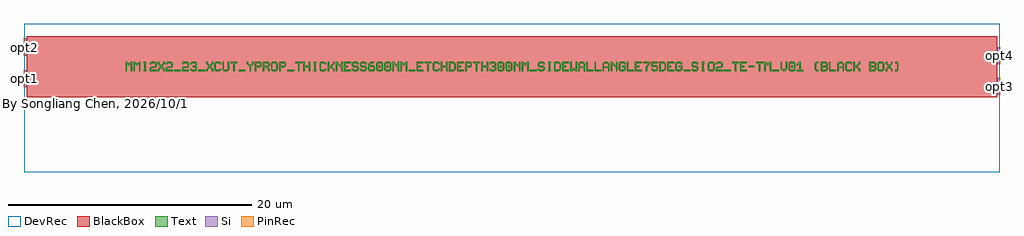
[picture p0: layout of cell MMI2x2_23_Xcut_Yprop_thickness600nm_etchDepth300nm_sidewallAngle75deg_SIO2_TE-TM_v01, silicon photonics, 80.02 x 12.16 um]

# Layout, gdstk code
import gdstk
lib = gdstk.Library(unit=1e-6, precision=1e-10)
def R(c, l, rs):  # rectangles x0, y0, x1, y1
    for r in rs: c.add(gdstk.rectangle(r[:2], r[2:], *l))
def A(c, l, x, y, w, h, nx, ny, dx, dy):  # array of equal rectangles
    R(c, l, [(x+i*dx, y+j*dy, x+i*dx+w, y+j*dy+h) for i in range(nx) for j in range(ny)])
def P(c, l, *ps):  # polygons
    for p in ps: c.add(gdstk.Polygon(p, *l))
Si = (1, 0)
PinRec = (1, 10)
Text = (10, 0)
DevRec = (68, 0)
BlackBox = (998, 0)

text = lib.new_cell('TEXT')
A(text, Text, 13.26, 0, 0.553, 0.111, 3, 1, 9.945, 0)
R(text, Text, [(3.978,0,4.531,0.111), (5.967,0,6.52,0.111), (9.282,0,9.835,0.111), (45.747,0,46.3,0.111), (49.062,0,49.615,0.111), (53.04,0,53.593,0.111), (20.774,0.276,20.885,0.498), (21.437,0.276,21.548,0.498), (30.719,0.276,30.83,0.498), (31.382,0.276,31.493,0.498), (54.587,0.276,54.698,0.498), (51.106,0.332,51.549,0.442)])
P(text, Text, [(0,0),(0,0.774),(0.111,0.774),(0.221,0.663),(0.332,0.663),(0.442,0.774),(0.553,0.774),(0.553,0),(0.442,0),(0.442,0.553),(0.387,0.553),(0.276,0.442),(0.166,0.553),(0.111,0.553),(0.111,0)],
  [(0.663,0),(0.663,0.774),(0.774,0.774),(0.884,0.663),(0.995,0.663),(1.105,0.774),(1.216,0.774),(1.216,0),(1.105,0),(1.105,0.553),(1.05,0.553),(0.939,0.442),(0.829,0.553),(0.774,0.553),(0.774,0)],
  [(1.492,0),(1.492,0.111),(1.547,0.111),(1.547,0.663),(1.492,0.663),(1.492,0.774),(1.713,0.774),(1.713,0.663),(1.658,0.663),(1.658,0.111),(1.713,0.111),(1.713,0)],
  [(1.989,0),(1.989,0.276),(2.1,0.387),(2.376,0.387),(2.431,0.442),(2.431,0.608),(2.376,0.663),(2.155,0.663),(2.1,0.608),(2.1,0.553),(1.989,0.553),(1.989,0.663),(2.1,0.774),(2.431,0.774),(2.542,0.663),(2.542,0.387),(2.431,0.276),(2.155,0.276),(2.1,0.221),(2.1,0.111),(2.542,0.111),(2.542,0)],
  [(2.652,0),(2.652,0.166),(2.818,0.332),(2.818,0.442),(2.652,0.608),(2.652,0.774),(2.763,0.774),(2.763,0.663),(2.928,0.498),(3.094,0.663),(3.094,0.774),(3.205,0.774),(3.205,0.608),(3.039,0.442),(3.039,0.332),(3.205,0.166),(3.205,0),(3.094,0),(3.094,0.111),(2.928,0.276),(2.763,0.111),(2.763,0)],
  [(3.315,0),(3.315,0.276),(3.426,0.387),(3.702,0.387),(3.757,0.442),(3.757,0.608),(3.702,0.663),(3.481,0.663),(3.426,0.608),(3.426,0.553),(3.315,0.553),(3.315,0.663),(3.426,0.774),(3.757,0.774),(3.868,0.663),(3.868,0.387),(3.757,0.276),(3.481,0.276),(3.426,0.221),(3.426,0.111),(3.868,0.111),(3.868,0)],
  [(4.641,0),(4.641,0.276),(4.752,0.387),(5.028,0.387),(5.083,0.442),(5.083,0.608),(5.028,0.663),(4.807,0.663),(4.752,0.608),(4.752,0.553),(4.641,0.553),(4.641,0.663),(4.752,0.774),(5.083,0.774),(5.194,0.663),(5.194,0.387),(5.083,0.276),(4.807,0.276),(4.752,0.221),(4.752,0.111),(5.194,0.111),(5.194,0)],
  [(5.415,0),(5.304,0.111),(5.304,0.221),(5.415,0.221),(5.415,0.166),(5.47,0.111),(5.691,0.111),(5.746,0.166),(5.746,0.276),(5.691,0.332),(5.525,0.332),(5.525,0.442),(5.691,0.442),(5.746,0.498),(5.746,0.608),(5.691,0.663),(5.47,0.663),(5.415,0.608),(5.415,0.553),(5.304,0.553),(5.304,0.663),(5.415,0.774),(5.746,0.774),(5.857,0.663),(5.857,0.442),(5.802,0.387),(5.857,0.332),(5.857,0.111),(5.746,0)],
  [(6.63,0),(6.63,0.166),(6.796,0.332),(6.796,0.442),(6.63,0.608),(6.63,0.774),(6.741,0.774),(6.741,0.663),(6.906,0.498),(7.072,0.663),(7.072,0.774),(7.183,0.774),(7.183,0.608),(7.017,0.442),(7.017,0.332),(7.183,0.166),(7.183,0),(7.072,0),(7.072,0.111),(6.906,0.276),(6.741,0.111),(6.741,0)],
  [(7.404,0),(7.293,0.111),(7.293,0.663),(7.404,0.774),(7.735,0.774),(7.846,0.663),(7.846,0.553),(7.735,0.553),(7.735,0.608),(7.68,0.663),(7.459,0.663),(7.404,0.608),(7.404,0.166),(7.459,0.111),(7.68,0.111),(7.735,0.166),(7.735,0.221),(7.846,0.221),(7.846,0.111),(7.735,0)],
  [(8.067,0),(7.956,0.111),(7.956,0.774),(8.067,0.774),(8.067,0.166),(8.122,0.111),(8.343,0.111),(8.398,0.166),(8.398,0.774),(8.509,0.774),(8.509,0.111),(8.398,0)],
  [(8.84,0),(8.84,0.663),(8.619,0.663),(8.619,0.774),(9.172,0.774),(9.172,0.663),(8.951,0.663),(8.951,0)],
  [(10.166,0),(10.166,0.387),(9.945,0.608),(9.945,0.774),(10.056,0.774),(10.056,0.663),(10.221,0.498),(10.387,0.663),(10.387,0.774),(10.498,0.774),(10.498,0.608),(10.277,0.387),(10.277,0)],
  [(10.608,0),(10.608,0.774),(11.05,0.774),(11.161,0.663),(11.161,0.442),(11.05,0.332),(10.719,0.332),(10.719,0.442),(10.995,0.442),(11.05,0.498),(11.05,0.608),(10.995,0.663),(10.719,0.663),(10.719,0)],
  [(11.271,0),(11.271,0.774),(11.713,0.774),(11.824,0.663),(11.382,0.663),(11.382,0.442),(11.658,0.442),(11.713,0.498),(11.713,0.608),(11.658,0.663),(11.824,0.663),(11.824,0.442),(11.713,0.332),(11.713,0.276),(11.824,0.166),(11.824,0),(11.713,0),(11.713,0.111),(11.492,0.332),(11.382,0.332),(11.382,0)],
  [(12.045,0),(11.934,0.111),(11.934,0.663),(12.045,0.774),(12.376,0.774),(12.487,0.663),(12.487,0.387),(12.376,0.387),(12.376,0.608),(12.321,0.663),(12.1,0.663),(12.045,0.608),(12.045,0.166),(12.1,0.111),(12.321,0.111),(12.376,0.166),(12.376,0.387),(12.487,0.387),(12.487,0.111),(12.376,0)],
  [(12.597,0),(12.597,0.774),(13.039,0.774),(13.15,0.663),(13.15,0.442),(13.039,0.332),(12.708,0.332),(12.708,0.442),(12.984,0.442),(13.039,0.498),(13.039,0.608),(12.984,0.663),(12.708,0.663),(12.708,0)],
  [(14.144,0),(14.144,0.663),(13.923,0.663),(13.923,0.774),(14.476,0.774),(14.476,0.663),(14.255,0.663),(14.255,0)],
  [(14.586,0),(14.586,0.774),(14.697,0.774),(14.697,0.442),(15.028,0.442),(15.028,0.774),(15.139,0.774),(15.139,0),(15.028,0),(15.028,0.332),(14.697,0.332),(14.697,0)],
  [(15.415,0),(15.415,0.111),(15.47,0.111),(15.47,0.663),(15.415,0.663),(15.415,0.774),(15.636,0.774),(15.636,0.663),(15.581,0.663),(15.581,0.111),(15.636,0.111),(15.636,0)],
  [(16.023,0),(15.912,0.111),(15.912,0.663),(16.023,0.774),(16.354,0.774),(16.465,0.663),(16.465,0.553),(16.354,0.553),(16.354,0.608),(16.299,0.663),(16.078,0.663),(16.023,0.608),(16.023,0.166),(16.078,0.111),(16.299,0.111),(16.354,0.166),(16.354,0.221),(16.465,0.221),(16.465,0.111),(16.354,0)],
  [(16.575,0),(16.575,0.774),(16.686,0.774),(16.686,0.442),(16.796,0.442),(17.017,0.663),(17.017,0.774),(17.128,0.774),(17.128,0.608),(16.907,0.387),(17.128,0.166),(17.128,0),(17.017,0),(17.017,0.111),(16.796,0.332),(16.686,0.332),(16.686,0)],
  [(17.238,0),(17.238,0.774),(17.349,0.774),(17.625,0.498),(17.68,0.498),(17.68,0.774),(17.791,0.774),(17.791,0),(17.68,0),(17.68,0.276),(17.404,0.553),(17.349,0.553),(17.349,0)],
  [(17.901,0),(17.901,0.774),(18.454,0.774),(18.454,0.663),(18.012,0.663),(18.012,0.442),(18.233,0.442),(18.233,0.332),(18.012,0.332),(18.012,0.111),(18.454,0.111),(18.454,0)],
  [(18.675,0),(18.564,0.111),(18.564,0.221),(18.675,0.221),(18.675,0.166),(18.73,0.111),(18.951,0.111),(19.006,0.166),(19.006,0.276),(18.951,0.332),(18.675,0.332),(18.564,0.442),(18.564,0.663),(18.675,0.774),(19.006,0.774),(19.117,0.663),(19.117,0.553),(19.006,0.553),(19.006,0.608),(18.951,0.663),(18.73,0.663),(18.675,0.608),(18.675,0.498),(18.73,0.442),(19.006,0.442),(19.117,0.332),(19.117,0.111),(19.006,0)],
  [(19.338,0),(19.227,0.111),(19.227,0.221),(19.338,0.221),(19.338,0.166),(19.393,0.111),(19.614,0.111),(19.669,0.166),(19.669,0.276),(19.614,0.332),(19.338,0.332),(19.227,0.442),(19.227,0.663),(19.338,0.774),(19.669,0.774),(19.78,0.663),(19.78,0.553),(19.669,0.553),(19.669,0.608),(19.614,0.663),(19.393,0.663),(19.338,0.608),(19.338,0.498),(19.393,0.442),(19.669,0.442),(19.78,0.332),(19.78,0.111),(19.669,0)],
  [(20.001,0),(19.89,0.111),(19.89,0.553),(20.111,0.774),(20.332,0.774),(20.332,0.663),(20.166,0.663),(20.056,0.553),(20.056,0.498),(20.332,0.498),(20.443,0.387),(20.056,0.387),(20.001,0.332),(20.001,0.166),(20.056,0.111),(20.277,0.111),(20.332,0.166),(20.332,0.332),(20.277,0.387),(20.443,0.387),(20.443,0.111),(20.332,0)],
  [(20.664,0),(20.553,0.111),(20.553,0.663),(20.664,0.774),(20.995,0.774),(21.106,0.663),(20.719,0.663),(20.664,0.608),(20.664,0.166),(20.719,0.111),(20.94,0.111),(20.995,0.166),(20.995,0.608),(20.94,0.663),(21.106,0.663),(21.106,0.111),(20.995,0)],
  [(21.327,0),(21.216,0.111),(21.216,0.663),(21.327,0.774),(21.658,0.774),(21.769,0.663),(21.382,0.663),(21.327,0.608),(21.327,0.166),(21.382,0.111),(21.603,0.111),(21.658,0.166),(21.658,0.608),(21.603,0.663),(21.769,0.663),(21.769,0.111),(21.658,0)],
  [(21.879,0),(21.879,0.774),(21.99,0.774),(22.266,0.498),(22.321,0.498),(22.321,0.774),(22.432,0.774),(22.432,0),(22.321,0),(22.321,0.276),(22.045,0.553),(21.99,0.553),(21.99,0)],
  [(22.542,0),(22.542,0.774),(22.653,0.774),(22.763,0.663),(22.874,0.663),(22.984,0.774),(23.095,0.774),(23.095,0),(22.984,0),(22.984,0.553),(22.929,0.553),(22.818,0.442),(22.708,0.553),(22.653,0.553),(22.653,0)],
  [(23.868,0),(23.868,0.774),(24.421,0.774),(24.421,0.663),(23.979,0.663),(23.979,0.442),(24.2,0.442),(24.2,0.332),(23.979,0.332),(23.979,0.111),(24.421,0.111),(24.421,0)],
  [(24.752,0),(24.752,0.663),(24.531,0.663),(24.531,0.774),(25.084,0.774),(25.084,0.663),(24.863,0.663),(24.863,0)],
  [(25.305,0),(25.194,0.111),(25.194,0.663),(25.305,0.774),(25.636,0.774),(25.747,0.663),(25.747,0.553),(25.636,0.553),(25.636,0.608),(25.581,0.663),(25.36,0.663),(25.305,0.608),(25.305,0.166),(25.36,0.111),(25.581,0.111),(25.636,0.166),(25.636,0.221),(25.747,0.221),(25.747,0.111),(25.636,0)],
  [(25.857,0),(25.857,0.774),(25.968,0.774),(25.968,0.442),(26.299,0.442),(26.299,0.774),(26.41,0.774),(26.41,0),(26.299,0),(26.299,0.332),(25.968,0.332),(25.968,0)],
  [(26.52,0),(26.52,0.774),(26.907,0.774),(27.018,0.663),(26.631,0.663),(26.631,0.111),(26.852,0.111),(26.962,0.221),(26.962,0.553),(26.852,0.663),(27.018,0.663),(27.073,0.608),(27.073,0.166),(26.907,0)],
  [(27.183,0),(27.183,0.774),(27.736,0.774),(27.736,0.663),(27.294,0.663),(27.294,0.442),(27.515,0.442),(27.515,0.332),(27.294,0.332),(27.294,0.111),(27.736,0.111),(27.736,0)],
  [(27.846,0),(27.846,0.774),(28.288,0.774),(28.399,0.663),(28.399,0.442),(28.288,0.332),(27.957,0.332),(27.957,0.442),(28.233,0.442),(28.288,0.498),(28.288,0.608),(28.233,0.663),(27.957,0.663),(27.957,0)],
  [(28.73,0),(28.73,0.663),(28.509,0.663),(28.509,0.774),(29.062,0.774),(29.062,0.663),(28.841,0.663),(28.841,0)],
  [(29.172,0),(29.172,0.774),(29.283,0.774),(29.283,0.442),(29.614,0.442),(29.614,0.774),(29.725,0.774),(29.725,0),(29.614,0),(29.614,0.332),(29.283,0.332),(29.283,0)],
  [(29.946,0),(29.835,0.111),(29.835,0.221),(29.946,0.221),(29.946,0.166),(30.001,0.111),(30.222,0.111),(30.277,0.166),(30.277,0.276),(30.222,0.332),(30.056,0.332),(30.056,0.442),(30.222,0.442),(30.277,0.498),(30.277,0.608),(30.222,0.663),(30.001,0.663),(29.946,0.608),(29.946,0.553),(29.835,0.553),(29.835,0.663),(29.946,0.774),(30.277,0.774),(30.388,0.663),(30.388,0.442),(30.333,0.387),(30.388,0.332),(30.388,0.111),(30.277,0)],
  [(30.609,0),(30.498,0.111),(30.498,0.663),(30.609,0.774),(30.94,0.774),(31.051,0.663),(30.664,0.663),(30.609,0.608),(30.609,0.166),(30.664,0.111),(30.885,0.111),(30.94,0.166),(30.94,0.608),(30.885,0.663),(31.051,0.663),(31.051,0.111),(30.94,0)],
  [(31.272,0),(31.161,0.111),(31.161,0.663),(31.272,0.774),(31.603,0.774),(31.714,0.663),(31.327,0.663),(31.272,0.608),(31.272,0.166),(31.327,0.111),(31.548,0.111),(31.603,0.166),(31.603,0.608),(31.548,0.663),(31.714,0.663),(31.714,0.111),(31.603,0)],
  [(31.824,0),(31.824,0.774),(31.935,0.774),(32.211,0.498),(32.266,0.498),(32.266,0.774),(32.377,0.774),(32.377,0),(32.266,0),(32.266,0.276),(31.99,0.553),(31.935,0.553),(31.935,0)],
  [(32.487,0),(32.487,0.774),(32.598,0.774),(32.708,0.663),(32.819,0.663),(32.929,0.774),(33.04,0.774),(33.04,0),(32.929,0),(32.929,0.553),(32.874,0.553),(32.763,0.442),(32.653,0.553),(32.598,0.553),(32.598,0)],
  [(33.924,0),(33.813,0.111),(33.813,0.221),(33.924,0.221),(33.924,0.166),(33.979,0.111),(34.2,0.111),(34.255,0.166),(34.255,0.276),(34.2,0.332),(33.924,0.332),(33.813,0.442),(33.813,0.663),(33.924,0.774),(34.255,0.774),(34.366,0.663),(34.366,0.553),(34.255,0.553),(34.255,0.608),(34.2,0.663),(33.979,0.663),(33.924,0.608),(33.924,0.498),(33.979,0.442),(34.255,0.442),(34.366,0.332),(34.366,0.111),(34.255,0)],
  [(34.642,0),(34.642,0.111),(34.697,0.111),(34.697,0.663),(34.642,0.663),(34.642,0.774),(34.863,0.774),(34.863,0.663),(34.808,0.663),(34.808,0.111),(34.863,0.111),(34.863,0)],
  [(35.139,0),(35.139,0.774),(35.526,0.774),(35.637,0.663),(35.25,0.663),(35.25,0.111),(35.471,0.111),(35.581,0.221),(35.581,0.553),(35.471,0.663),(35.637,0.663),(35.692,0.608),(35.692,0.166),(35.526,0)],
  [(35.802,0),(35.802,0.774),(36.355,0.774),(36.355,0.663),(35.913,0.663),(35.913,0.442),(36.134,0.442),(36.134,0.332),(35.913,0.332),(35.913,0.111),(36.355,0.111),(36.355,0)],
  [(36.465,0),(36.465,0.774),(36.576,0.774),(36.576,0.166),(36.631,0.166),(36.741,0.276),(36.852,0.166),(36.907,0.166),(36.907,0.774),(37.018,0.774),(37.018,0),(36.852,0),(36.741,0.111),(36.631,0)],
  [(37.128,0),(37.128,0.608),(37.294,0.774),(37.515,0.774),(37.626,0.663),(37.349,0.663),(37.239,0.553),(37.239,0.387),(37.57,0.387),(37.57,0.553),(37.46,0.663),(37.626,0.663),(37.681,0.608),(37.681,0),(37.57,0),(37.57,0.276),(37.239,0.276),(37.239,0)],
  [(37.791,0),(37.791,0.774),(37.902,0.774),(37.902,0.111),(38.344,0.111),(38.344,0)],
  [(38.454,0),(38.454,0.774),(38.565,0.774),(38.565,0.111),(39.007,0.111),(39.007,0)],
  [(39.117,0),(39.117,0.608),(39.283,0.774),(39.504,0.774),(39.615,0.663),(39.338,0.663),(39.228,0.553),(39.228,0.387),(39.559,0.387),(39.559,0.553),(39.449,0.663),(39.615,0.663),(39.67,0.608),(39.67,0),(39.559,0),(39.559,0.276),(39.228,0.276),(39.228,0)],
  [(39.78,0),(39.78,0.774),(39.891,0.774),(40.167,0.498),(40.222,0.498),(40.222,0.774),(40.333,0.774),(40.333,0),(40.222,0),(40.222,0.276),(39.946,0.553),(39.891,0.553),(39.891,0)],
  [(40.554,0),(40.443,0.111),(40.443,0.663),(40.554,0.774),(40.885,0.774),(40.996,0.663),(40.996,0.553),(40.885,0.553),(40.885,0.608),(40.83,0.663),(40.609,0.663),(40.554,0.608),(40.554,0.166),(40.609,0.111),(40.83,0.111),(40.885,0.166),(40.885,0.332),(40.719,0.332),(40.719,0.442),(40.996,0.442),(40.996,0.111),(40.885,0)],
  [(41.106,0),(41.106,0.774),(41.217,0.774),(41.217,0.111),(41.659,0.111),(41.659,0)],
  [(41.769,0),(41.769,0.774),(42.322,0.774),(42.322,0.663),(41.88,0.663),(41.88,0.442),(42.101,0.442),(42.101,0.332),(41.88,0.332),(41.88,0.111),(42.322,0.111),(42.322,0)],
  [(42.653,0),(42.653,0.387),(42.874,0.608),(42.874,0.663),(42.432,0.663),(42.432,0.774),(42.985,0.774),(42.985,0.553),(42.764,0.332),(42.764,0)],
  [(43.206,0),(43.095,0.111),(43.095,0.221),(43.206,0.221),(43.206,0.166),(43.261,0.111),(43.482,0.111),(43.537,0.166),(43.537,0.332),(43.482,0.387),(43.095,0.387),(43.095,0.774),(43.648,0.774),(43.648,0.663),(43.206,0.663),(43.206,0.498),(43.537,0.498),(43.648,0.387),(43.648,0.111),(43.537,0)],
  [(43.758,0),(43.758,0.774),(44.145,0.774),(44.256,0.663),(43.869,0.663),(43.869,0.111),(44.09,0.111),(44.2,0.221),(44.2,0.553),(44.09,0.663),(44.256,0.663),(44.311,0.608),(44.311,0.166),(44.145,0)],
  [(44.421,0),(44.421,0.774),(44.974,0.774),(44.974,0.663),(44.532,0.663),(44.532,0.442),(44.753,0.442),(44.753,0.332),(44.532,0.332),(44.532,0.111),(44.974,0.111),(44.974,0)],
  [(45.195,0),(45.084,0.111),(45.084,0.663),(45.195,0.774),(45.526,0.774),(45.637,0.663),(45.637,0.553),(45.526,0.553),(45.526,0.608),(45.471,0.663),(45.25,0.663),(45.195,0.608),(45.195,0.166),(45.25,0.111),(45.471,0.111),(45.526,0.166),(45.526,0.332),(45.36,0.332),(45.36,0.442),(45.637,0.442),(45.637,0.111),(45.526,0)],
  [(46.521,0),(46.41,0.111),(46.41,0.221),(46.521,0.221),(46.521,0.166),(46.576,0.111),(46.797,0.111),(46.852,0.166),(46.852,0.276),(46.797,0.332),(46.521,0.332),(46.41,0.442),(46.41,0.663),(46.521,0.774),(46.852,0.774),(46.963,0.663),(46.963,0.553),(46.852,0.553),(46.852,0.608),(46.797,0.663),(46.576,0.663),(46.521,0.608),(46.521,0.498),(46.576,0.442),(46.852,0.442),(46.963,0.332),(46.963,0.111),(46.852,0)],
  [(47.239,0),(47.239,0.111),(47.294,0.111),(47.294,0.663),(47.239,0.663),(47.239,0.774),(47.46,0.774),(47.46,0.663),(47.405,0.663),(47.405,0.111),(47.46,0.111),(47.46,0)],
  [(47.847,0),(47.736,0.111),(47.736,0.663),(47.847,0.774),(48.178,0.774),(48.289,0.663),(48.289,0.387),(48.178,0.387),(48.178,0.608),(48.123,0.663),(47.902,0.663),(47.847,0.608),(47.847,0.166),(47.902,0.111),(48.123,0.111),(48.178,0.166),(48.178,0.387),(48.289,0.387),(48.289,0.111),(48.178,0)],
  [(48.399,0),(48.399,0.276),(48.51,0.387),(48.786,0.387),(48.841,0.442),(48.841,0.608),(48.786,0.663),(48.565,0.663),(48.51,0.608),(48.51,0.553),(48.399,0.553),(48.399,0.663),(48.51,0.774),(48.841,0.774),(48.952,0.663),(48.952,0.387),(48.841,0.276),(48.565,0.276),(48.51,0.221),(48.51,0.111),(48.952,0.111),(48.952,0)],
  [(49.946,0),(49.946,0.663),(49.725,0.663),(49.725,0.774),(50.278,0.774),(50.278,0.663),(50.057,0.663),(50.057,0)],
  [(50.388,0),(50.388,0.774),(50.941,0.774),(50.941,0.663),(50.499,0.663),(50.499,0.442),(50.72,0.442),(50.72,0.332),(50.499,0.332),(50.499,0.111),(50.941,0.111),(50.941,0)],
  [(51.935,0),(51.935,0.663),(51.714,0.663),(51.714,0.774),(52.267,0.774),(52.267,0.663),(52.046,0.663),(52.046,0)],
  [(52.377,0),(52.377,0.774),(52.488,0.774),(52.598,0.663),(52.709,0.663),(52.819,0.774),(52.93,0.774),(52.93,0),(52.819,0),(52.819,0.553),(52.764,0.553),(52.653,0.442),(52.543,0.553),(52.488,0.553),(52.488,0)],
  [(53.924,0),(53.703,0.221),(53.703,0.774),(53.814,0.774),(53.814,0.276),(53.979,0.111),(54.145,0.276),(54.145,0.774),(54.256,0.774),(54.256,0.221),(54.035,0)],
  [(54.477,0),(54.366,0.111),(54.366,0.663),(54.477,0.774),(54.808,0.774),(54.919,0.663),(54.532,0.663),(54.477,0.608),(54.477,0.166),(54.532,0.111),(54.753,0.111),(54.808,0.166),(54.808,0.608),(54.753,0.663),(54.919,0.663),(54.919,0.111),(54.808,0)],
  [(55.029,0),(55.029,0.111),(55.25,0.111),(55.25,0.553),(55.195,0.553),(55.084,0.442),(55.029,0.442),(55.029,0.553),(55.25,0.774),(55.361,0.774),(55.361,0.111),(55.582,0.111),(55.582,0)],
  [(56.631,0),(56.521,0.111),(56.521,0.663),(56.631,0.774),(56.797,0.774),(56.797,0.663),(56.687,0.663),(56.631,0.608),(56.631,0.166),(56.687,0.111),(56.797,0.111),(56.797,0)],
  [(57.018,0),(57.018,0.774),(57.46,0.774),(57.571,0.663),(57.129,0.663),(57.129,0.442),(57.405,0.442),(57.46,0.498),(57.46,0.608),(57.405,0.663),(57.571,0.663),(57.571,0.442),(57.516,0.387),(57.571,0.332),(57.129,0.332),(57.129,0.111),(57.405,0.111),(57.46,0.166),(57.46,0.276),(57.405,0.332),(57.571,0.332),(57.571,0.111),(57.46,0)],
  [(57.681,0),(57.681,0.774),(57.792,0.774),(57.792,0.111),(58.234,0.111),(58.234,0)],
  [(58.344,0),(58.344,0.608),(58.51,0.774),(58.731,0.774),(58.842,0.663),(58.565,0.663),(58.455,0.553),(58.455,0.387),(58.786,0.387),(58.786,0.553),(58.676,0.663),(58.842,0.663),(58.897,0.608),(58.897,0),(58.786,0),(58.786,0.276),(58.455,0.276),(58.455,0)],
  [(59.118,0),(59.007,0.111),(59.007,0.663),(59.118,0.774),(59.449,0.774),(59.56,0.663),(59.56,0.553),(59.449,0.553),(59.449,0.608),(59.394,0.663),(59.173,0.663),(59.118,0.608),(59.118,0.166),(59.173,0.111),(59.394,0.111),(59.449,0.166),(59.449,0.221),(59.56,0.221),(59.56,0.111),(59.449,0)],
  [(59.67,0),(59.67,0.774),(59.781,0.774),(59.781,0.442),(59.891,0.442),(60.112,0.663),(60.112,0.774),(60.223,0.774),(60.223,0.608),(60.002,0.387),(60.223,0.166),(60.223,0),(60.112,0),(60.112,0.111),(59.891,0.332),(59.781,0.332),(59.781,0)],
  [(60.996,0),(60.996,0.774),(61.438,0.774),(61.549,0.663),(61.107,0.663),(61.107,0.442),(61.383,0.442),(61.438,0.498),(61.438,0.608),(61.383,0.663),(61.549,0.663),(61.549,0.442),(61.494,0.387),(61.549,0.332),(61.107,0.332),(61.107,0.111),(61.383,0.111),(61.438,0.166),(61.438,0.276),(61.383,0.332),(61.549,0.332),(61.549,0.111),(61.438,0)],
  [(61.77,0),(61.659,0.111),(61.659,0.663),(61.77,0.774),(62.101,0.774),(62.212,0.663),(62.212,0.387),(62.101,0.387),(62.101,0.608),(62.046,0.663),(61.825,0.663),(61.77,0.608),(61.77,0.166),(61.825,0.111),(62.046,0.111),(62.101,0.166),(62.101,0.387),(62.212,0.387),(62.212,0.111),(62.101,0)],
  [(62.322,0),(62.322,0.166),(62.488,0.332),(62.488,0.442),(62.322,0.608),(62.322,0.774),(62.433,0.774),(62.433,0.663),(62.598,0.498),(62.764,0.663),(62.764,0.774),(62.875,0.774),(62.875,0.608),(62.709,0.442),(62.709,0.332),(62.875,0.166),(62.875,0),(62.764,0),(62.764,0.111),(62.598,0.276),(62.433,0.111),(62.433,0)],
  [(63.096,0),(63.096,0.111),(63.206,0.111),(63.261,0.166),(63.261,0.608),(63.206,0.663),(63.096,0.663),(63.096,0.774),(63.261,0.774),(63.372,0.663),(63.372,0.111),(63.261,0)])

mmi2x2_23_xcut_yprop_thi = lib.new_cell('MMI2x2_23_Xcut_Yprop_thickness600nm_etchDepth300nm_sidewallAngle75deg_SIO2_TE-TM_v01')
R(mmi2x2_23_xcut_yprop_thi, Si, [(39.8,-2.2996,40,-0.9004), (-40,-1.6996,-39.8,-0.3004), (39.8,0.2004,40,1.5996), (-40,0.9004,-39.8,2.2996)])
R(mmi2x2_23_xcut_yprop_thi, DevRec, [(-40,-8.6611,40,3.4996)])
R(mmi2x2_23_xcut_yprop_thi, BlackBox, [(-39.8,-2.4996,39.8,2.4996)])
mmi2x2_23_xcut_yprop_thi.add(gdstk.FlexPath([(-39.99,-1),(-40.01,-1)], 1.3992, ends="flush", simple_path=True, layer=1, datatype=10))  # PinRec
mmi2x2_23_xcut_yprop_thi.add(gdstk.FlexPath([(-39.99,1.6),(-40.01,1.6)], 1.3992, ends="flush", simple_path=True, layer=1, datatype=10))  # PinRec
mmi2x2_23_xcut_yprop_thi.add(gdstk.FlexPath([(39.99,-1.6),(40.01,-1.6)], 1.3992, ends="flush", simple_path=True, layer=1, datatype=10))  # PinRec
mmi2x2_23_xcut_yprop_thi.add(gdstk.FlexPath([(39.99,0.9),(40.01,0.9)], 1.3992, ends="flush", simple_path=True, layer=1, datatype=10))  # PinRec
mmi2x2_23_xcut_yprop_thi.add(gdstk.Reference(text, (-31.686,-0.387)))
mmi2x2_23_xcut_yprop_thi.add(gdstk.Label('opt1', (-40,-1), layer=1, texttype=10))
mmi2x2_23_xcut_yprop_thi.add(gdstk.Label('opt2', (-40,1.6), layer=1, texttype=10))
mmi2x2_23_xcut_yprop_thi.add(gdstk.Label('opt3', (40,-1.6), layer=1, texttype=10))
mmi2x2_23_xcut_yprop_thi.add(gdstk.Label('opt4', (40,0.9), layer=1, texttype=10))
mmi2x2_23_xcut_yprop_thi.add(gdstk.Label('By Songliang Chen, 2026/10/13', (-39.5,-2.9996), layer=10, texttype=0))

lib.write_gds('MMI2x2_23_Xcut_Yprop_thickness600nm_etchDepth300nm_sidewallAngle75deg_SIO2_TE-TM_v01.gds')
